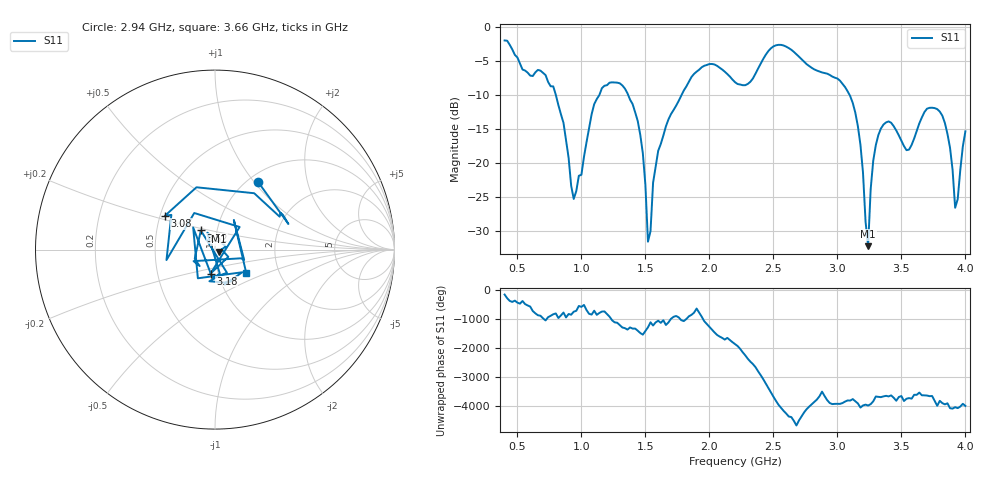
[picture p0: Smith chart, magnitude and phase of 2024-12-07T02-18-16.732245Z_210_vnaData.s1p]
!Created with skrf (http://scikit-rf.org).
# Hz S RI R 50.0
!freq ReS11 ImS11
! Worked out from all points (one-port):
!   181 points, 400 MHz to 4 GHz, reference 50 ohm
!   lowest |S11| = -32.3 dB at 3.24 GHz (marker M1), VSWR 1.05, Z = 52.1 - j1.25 ohm
!   |S11| at or under -10 dB: 800.6 MHz to 1.14 GHz (339.7 MHz wide, 35 % of centre); 1.366 GHz to 1.782 GHz (416.9 MHz wide, 26.5 % of centre); 3.096 GHz to end of sweep
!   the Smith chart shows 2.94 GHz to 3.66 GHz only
!   S11 on the Smith chart (normalised r, x): 2.94 GHz: 1.12, +1.05; 3.08 GHz: 0.53, +0.22; 3.18 GHz: 0.92, -0.25; 3.52 GHz: 0.84, +0.18; 3.66 GHz: 1.36, -0.37
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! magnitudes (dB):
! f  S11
! 400 MHz  -1.9
! 720 MHz  -7.0
! 860 MHz  -14.1
! 940 MHz  -25.3
! 1.1 GHz  -11.3
! 1.3 GHz  -8.3
! 1.46 GHz  -15.9
! 1.5 GHz  -23.3
! 1.52 GHz  -31.6
! 1.6 GHz  -18.2
! 1.76 GHz  -10.9
! 2 GHz  -5.4
! 2.2 GHz  -8.1
! 2.66 GHz  -3.6
! 2.94 GHz  -7.0
! 3.08 GHz  -9.5
! 3.1 GHz  -10.2
! 3.18 GHz  -17.3
! 3.24 GHz  -32.3
! 3.28 GHz  -19.7
! 3.32 GHz  -15.9
! 3.52 GHz  -17.5
! 3.56 GHz  -18.0
! 3.66 GHz  -13.3
! 3.82 GHz  -13.0
! 3.88 GHz  -17.8
! 3.92 GHz  -26.6
! 4 GHz  -15.3
